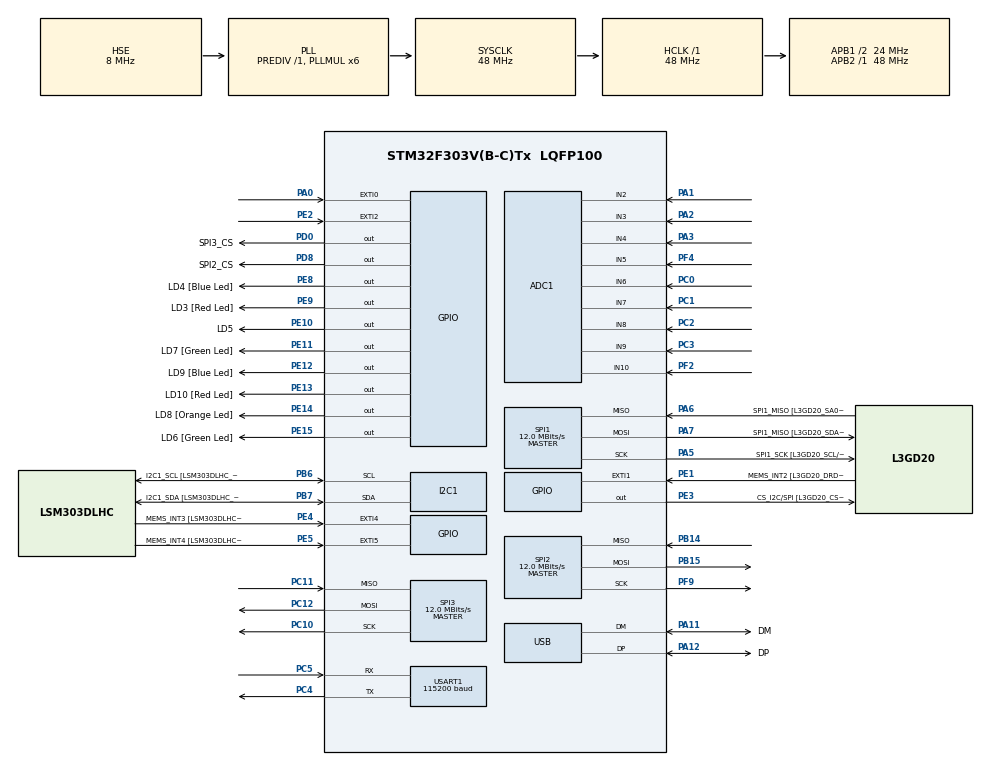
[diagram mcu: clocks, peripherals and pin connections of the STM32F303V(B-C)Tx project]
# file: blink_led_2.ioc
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ADC1.Channel-1\#ChannelRegularConversion=ADC_CHANNEL_2
ADC1.Channel-10\#ChannelRegularConversion=ADC_CHANNEL_10
ADC1.Channel-11\#ChannelRegularConversion=ADC_CHANNEL_TEMPSENSOR
ADC1.Channel-12\#ChannelRegularConversion=ADC_CHANNEL_VREFINT
ADC1.Channel-13\#ChannelRegularConversion=ADC_CHANNEL_VBAT
ADC1.Channel-14\#ChannelRegularConversion=ADC_CHANNEL_2
ADC1.Channel-15\#ChannelRegularConversion=ADC_CHANNEL_2
ADC1.Channel-16\#ChannelRegularConversion=ADC_CHANNEL_2
ADC1.Channel-2\#ChannelRegularConversion=ADC_CHANNEL_2
ADC1.Channel-3\#ChannelRegularConversion=ADC_CHANNEL_3
ADC1.Channel-4\#ChannelRegularConversion=ADC_CHANNEL_4
ADC1.Channel-5\#ChannelRegularConversion=ADC_CHANNEL_5
ADC1.Channel-6\#ChannelRegularConversion=ADC_CHANNEL_6
ADC1.Channel-7\#ChannelRegularConversion=ADC_CHANNEL_7
ADC1.Channel-8\#ChannelRegularConversion=ADC_CHANNEL_8
ADC1.Channel-9\#ChannelRegularConversion=ADC_CHANNEL_9
ADC1.ContinuousConvMode=ENABLE
ADC1.DMAContinuousRequests=ENABLE
ADC1.EOCSelection=ADC_EOC_SINGLE_CONV
ADC1.NbrOfConversion=16
ADC1.NbrOfConversionFlag=1
ADC1.Offset-1\#ChannelRegularConversion=0
ADC1.Offset-10\#ChannelRegularConversion=0
ADC1.Offset-11\#ChannelRegularConversion=0
ADC1.Offset-12\#ChannelRegularConversion=0
ADC1.Offset-13\#ChannelRegularConversion=0
ADC1.Offset-14\#ChannelRegularConversion=0
ADC1.Offset-15\#ChannelRegularConversion=0
ADC1.Offset-16\#ChannelRegularConversion=0
ADC1.Offset-2\#ChannelRegularConversion=0
ADC1.Offset-3\#ChannelRegularConversion=0
ADC1.Offset-4\#ChannelRegularConversion=0
ADC1.Offset-5\#ChannelRegularConversion=0
ADC1.Offset-6\#ChannelRegularConversion=0
ADC1.Offset-7\#ChannelRegularConversion=0
ADC1.Offset-8\#ChannelRegularConversion=0
ADC1.Offset-9\#ChannelRegularConversion=0
ADC1.OffsetNumber-1\#ChannelRegularConversion=ADC_OFFSET_NONE
ADC1.OffsetNumber-10\#ChannelRegularConversion=ADC_OFFSET_NONE
ADC1.OffsetNumber-11\#ChannelRegularConversion=ADC_OFFSET_NONE
ADC1.OffsetNumber-12\#ChannelRegularConversion=ADC_OFFSET_NONE
ADC1.OffsetNumber-13\#ChannelRegularConversion=ADC_OFFSET_NONE
ADC1.OffsetNumber-14\#ChannelRegularConversion=ADC_OFFSET_NONE
ADC1.OffsetNumber-15\#ChannelRegularConversion=ADC_OFFSET_NONE
ADC1.OffsetNumber-16\#ChannelRegularConversion=ADC_OFFSET_NONE
ADC1.OffsetNumber-2\#ChannelRegularConversion=ADC_OFFSET_NONE
ADC1.OffsetNumber-3\#ChannelRegularConversion=ADC_OFFSET_NONE
ADC1.OffsetNumber-4\#ChannelRegularConversion=ADC_OFFSET_NONE
ADC1.OffsetNumber-5\#ChannelRegularConversion=ADC_OFFSET_NONE
ADC1.OffsetNumber-6\#ChannelRegularConversion=ADC_OFFSET_NONE
ADC1.OffsetNumber-7\#ChannelRegularConversion=ADC_OFFSET_NONE
ADC1.OffsetNumber-8\#ChannelRegularConversion=ADC_OFFSET_NONE
ADC1.OffsetNumber-9\#ChannelRegularConversion=ADC_OFFSET_NONE
ADC1.Rank-1\#ChannelRegularConversion=1
ADC1.Rank-10\#ChannelRegularConversion=10
ADC1.Rank-11\#ChannelRegularConversion=11
ADC1.Rank-12\#ChannelRegularConversion=12
ADC1.Rank-13\#ChannelRegularConversion=13
ADC1.Rank-14\#ChannelRegularConversion=14
ADC1.Rank-15\#ChannelRegularConversion=15
ADC1.Rank-16\#ChannelRegularConversion=16
ADC1.Rank-2\#ChannelRegularConversion=2
ADC1.Rank-3\#ChannelRegularConversion=3
ADC1.Rank-4\#ChannelRegularConversion=4
ADC1.Rank-5\#ChannelRegularConversion=5
ADC1.Rank-6\#ChannelRegularConversion=6
ADC1.Rank-7\#ChannelRegularConversion=7
ADC1.Rank-8\#ChannelRegularConversion=8
ADC1.Rank-9\#ChannelRegularConversion=9
ADC1.SamplingTime-1\#ChannelRegularConversion=ADC_SAMPLETIME_601CYCLES_5
ADC1.SamplingTime-10\#ChannelRegularConversion=ADC_SAMPLETIME_601CYCLES_5
ADC1.SamplingTime-11\#ChannelRegularConversion=ADC_SAMPLETIME_601CYCLES_5
ADC1.SamplingTime-12\#ChannelRegularConversion=ADC_SAMPLETIME_601CYCLES_5
ADC1.SamplingTime-13\#ChannelRegularConversion=ADC_SAMPLETIME_601CYCLES_5
ADC1.SamplingTime-14\#ChannelRegularConversion=ADC_SAMPLETIME_1CYCLE_5
ADC1.SamplingTime-15\#ChannelRegularConversion=ADC_SAMPLETIME_1CYCLE_5
ADC1.SamplingTime-16\#ChannelRegularConversion=ADC_SAMPLETIME_1CYCLE_5
ADC1.SamplingTime-2\#ChannelRegularConversion=ADC_SAMPLETIME_601CYCLES_5
ADC1.SamplingTime-3\#ChannelRegularConversion=ADC_SAMPLETIME_601CYCLES_5
ADC1.SamplingTime-4\#ChannelRegularConversion=ADC_SAMPLETIME_601CYCLES_5
ADC1.SamplingTime-5\#ChannelRegularConversion=ADC_SAMPLETIME_601CYCLES_5
ADC1.SamplingTime-6\#ChannelRegularConversion=ADC_SAMPLETIME_601CYCLES_5
ADC1.SamplingTime-7\#ChannelRegularConversion=ADC_SAMPLETIME_601CYCLES_5
ADC1.SamplingTime-8\#ChannelRegularConversion=ADC_SAMPLETIME_601CYCLES_5
ADC1.SamplingTime-9\#ChannelRegularConversion=ADC_SAMPLETIME_601CYCLES_5
ADC1.SamplingTimeOPAMP-10\#ChannelRegularConversion=ADC_SAMPLETIME_19CYCLES_5
ADC1.SamplingTimeOPAMP-11\#ChannelRegularConversion=ADC_SAMPLETIME_19CYCLES_5
ADC1.SamplingTimeOPAMP-12\#ChannelRegularConversion=ADC_SAMPLETIME_19CYCLES_5
ADC1.SamplingTimeOPAMP-13\#ChannelRegularConversion=ADC_SAMPLETIME_19CYCLES_5
ADC1.SamplingTimeOPAMP-14\#ChannelRegularConversion=ADC_SAMPLETIME_19CYCLES_5
ADC1.SamplingTimeOPAMP-15\#ChannelRegularConversion=ADC_SAMPLETIME_19CYCLES_5
ADC1.SamplingTimeOPAMP-16\#ChannelRegularConversion=ADC_SAMPLETIME_19CYCLES_5
ADC1.SamplingTimeOPAMP-2\#ChannelRegularConversion=ADC_SAMPLETIME_19CYCLES_5
ADC1.SamplingTimeOPAMP-3\#ChannelRegularConversion=ADC_SAMPLETIME_19CYCLES_5
ADC1.SamplingTimeOPAMP-4\#ChannelRegularConversion=ADC_SAMPLETIME_19CYCLES_5
ADC1.SamplingTimeOPAMP-5\#ChannelRegularConversion=ADC_SAMPLETIME_19CYCLES_5
ADC1.SamplingTimeOPAMP-6\#ChannelRegularConversion=ADC_SAMPLETIME_19CYCLES_5
ADC1.SamplingTimeOPAMP-7\#ChannelRegularConversion=ADC_SAMPLETIME_19CYCLES_5
ADC1.SamplingTimeOPAMP-8\#ChannelRegularConversion=ADC_SAMPLETIME_19CYCLES_5
ADC1.SamplingTimeOPAMP-9\#ChannelRegularConversion=ADC_SAMPLETIME_19CYCLES_5
ADC1.SequencerNbRanks=16
ADC1.master=1
Dma.ADC1.0.Direction=DMA_PERIPH_TO_MEMORY
Dma.ADC1.0.Instance=DMA1_Channel1
Dma.ADC1.0.MemDataAlignment=DMA_MDATAALIGN_HALFWORD
Dma.ADC1.0.MemInc=DMA_MINC_ENABLE
Dma.ADC1.0.Mode=DMA_CIRCULAR
Dma.ADC1.0.PeriphDataAlignment=DMA_PDATAALIGN_HALFWORD
Dma.ADC1.0.PeriphInc=DMA_PINC_DISABLE
Dma.ADC1.0.Priority=DMA_PRIORITY_LOW
Dma.Request0=ADC1
Dma.Request1=SPI2_RX
Dma.Request2=SPI2_TX
Dma.SPI2_RX.1.Direction=DMA_PERIPH_TO_MEMORY
Dma.SPI2_RX.1.Instance=DMA1_Channel4
Dma.SPI2_RX.1.MemDataAlignment=DMA_MDATAALIGN_BYTE
Dma.SPI2_RX.1.MemInc=DMA_MINC_ENABLE
Dma.SPI2_RX.1.Mode=DMA_NORMAL
Dma.SPI2_RX.1.PeriphDataAlignment=DMA_PDATAALIGN_BYTE
Dma.SPI2_RX.1.PeriphInc=DMA_PINC_DISABLE
Dma.SPI2_RX.1.Priority=DMA_PRIORITY_MEDIUM
Dma.SPI2_TX.2.Direction=DMA_MEMORY_TO_PERIPH
Dma.SPI2_TX.2.Instance=DMA1_Channel5
Dma.SPI2_TX.2.MemDataAlignment=DMA_MDATAALIGN_BYTE
Dma.SPI2_TX.2.MemInc=DMA_MINC_ENABLE
Dma.SPI2_TX.2.Mode=DMA_NORMAL
Dma.SPI2_TX.2.PeriphDataAlignment=DMA_PDATAALIGN_BYTE
Dma.SPI2_TX.2.PeriphInc=DMA_PINC_DISABLE
Dma.SPI2_TX.2.Priority=DMA_PRIORITY_MEDIUM
FATFS._FS_REENTRANT=0
FATFS._FS_RPATH=2
FATFS._USE_FIND=1
FATFS._USE_FORWARD=1
FATFS._USE_LABEL=1
FATFS._USE_LFN=2
FREERTOS.Queues01=STShell_RX,16,uint8_t,0,Dynamic,NULL,NULL;STShell_TX,16,uint8_t,0,Dynamic,NULL,NULL
FREERTOS.Tasks01=defaultTask,24,128,StartDefaultTask,Default,NULL,Dynamic,NULL,NULL;STShell,11,1024,StartSTShell,Default,NULL,Dynamic,NULL,NULL;PWM,9,128,startPWM,Default,NULL,Dynamic,NULL,NULL;UDPListen,10,128,StartUDPListen,Default,NULL,Dynamic,NULL,NULL
FREERTOS.configGENERATE_RUN_TIME_STATS=1
FREERTOS.configTOTAL_HEAP_SIZE=16384
FREERTOS.configUSE_NEWLIB_REENTRANT=1
I2C1.Timing=0x00201D2B
I2C1.Timing-I2C=0x2000090E
Mcu.Family=STM32F3
Mcu.Name=STM32F303V(B-C)Tx
Mcu.Package=LQFP100
NVIC.DMA1_Channel1_IRQn=true\:5\:0\:false\:false\:true\:true\:false\:true\:true
NVIC.DMA1_Channel4_IRQn=true\:5\:0\:false\:false\:true\:true\:false\:true\:true
NVIC.DMA1_Channel5_IRQn=true\:5\:0\:false\:false\:true\:true\:false\:true\:true
NVIC.EXTI0_IRQn=true\:7\:0\:true\:false\:true\:true\:true\:true\:true
NVIC.I2C1_ER_IRQn=true\:8\:0\:true\:false\:true\:true\:true\:true\:true
NVIC.I2C1_EV_IRQn=true\:8\:0\:true\:false\:true\:true\:true\:true\:true
NVIC.PriorityGroup=NVIC_PRIORITYGROUP_4
NVIC.SPI1_IRQn=true\:9\:0\:true\:false\:true\:true\:true\:true\:true
NVIC.SPI2_IRQn=true\:5\:0\:false\:false\:true\:true\:true\:true\:true
NVIC.TIM3_IRQn=true\:14\:0\:true\:false\:true\:true\:true\:true\:true
NVIC.TIM4_IRQn=true\:14\:0\:true\:false\:true\:true\:true\:true\:true
NVIC.TIM6_DAC_IRQn=true\:5\:0\:false\:false\:true\:true\:false\:true\:true
NVIC.TIM7_IRQn=true\:7\:0\:true\:false\:true\:true\:true\:true\:true
NVIC.TimeBase=TIM6_DAC_IRQn
NVIC.TimeBaseIP=TIM6
NVIC.USART1_IRQn=true\:12\:0\:true\:false\:true\:true\:true\:true\:true
NVIC.USB_HP_CAN_TX_IRQn=true\:6\:0\:true\:false\:true\:true\:true\:true\:true
NVIC.USB_LP_CAN_RX0_IRQn=true\:6\:0\:true\:false\:true\:true\:true\:true\:true
PA0.Signal=GPXTI0
PA1.Mode=IN2-Single-Ended
PA1.Signal=ADC1_IN2
PA11.GPIO_Label=DM
PA11.Mode=Device
PA11.Signal=USB_DM
PA12.GPIO_Label=DP
PA12.Mode=Device
PA12.Signal=USB_DP
PA13.GPIO_Label=SWDIO
PA13.Mode=Serial_Wire
PA13.Signal=SYS_JTMS-SWDIO
PA14.GPIO_Label=SWCLK
PA14.Mode=Serial_Wire
PA14.Signal=SYS_JTCK-SWCLK
PA2.Mode=IN3-Single-Ended
PA2.Signal=ADC1_IN3
PA3.Mode=IN4-Single-Ended
PA3.Signal=ADC1_IN4
PA5.GPIO_Label=SPI1_SCK [L3GD20_SCL/SPC]
PA5.Mode=Full_Duplex_Master
PA5.Signal=SPI1_SCK
PA6.GPIO_Label=SPI1_MISO [L3GD20_SA0/SDO]
PA6.Mode=Full_Duplex_Master
PA6.Signal=SPI1_MISO
PA7.GPIO_Label=SPI1_MISO [L3GD20_SDA/SDI/SDO]
PA7.Mode=Full_Duplex_Master
PA7.Signal=SPI1_MOSI
PB14.Mode=Full_Duplex_Master
PB14.Signal=SPI2_MISO
PB15.Mode=Full_Duplex_Master
PB15.Signal=SPI2_MOSI
PB3.GPIO_Label=SWO
PB3.Signal=SYS_JTDO-TRACESWO
PB6.GPIO_Label=I2C1_SCL [LSM303DLHC_SCL]
PB6.GPIO_Pu=GPIO_PULLUP
PB6.Mode=I2C
PB6.Signal=I2C1_SCL
PB7.GPIO_Label=I2C1_SDA [LSM303DLHC_SDA]
PB7.GPIO_Pu=GPIO_PULLUP
PB7.Mode=I2C
PB7.Signal=I2C1_SDA
PC0.Signal=ADCx_IN6
PC1.Signal=ADCx_IN7
PC10.Mode=Full_Duplex_Master
PC10.Signal=SPI3_SCK
PC11.Mode=Full_Duplex_Master
PC11.Signal=SPI3_MISO
PC12.Mode=Full_Duplex_Master
PC12.Signal=SPI3_MOSI
PC14-OSC32_IN.GPIO_Label=OSC32_IN
PC14-OSC32_IN.Mode=LSE-External-Oscillator
PC14-OSC32_IN.Signal=RCC_OSC32_IN
PC15-OSC32_OUT.GPIO_Label=OSC32_OUT
PC15-OSC32_OUT.Mode=LSE-External-Oscillator
PC15-OSC32_OUT.Signal=RCC_OSC32_OUT
PC2.Signal=ADCx_IN8
PC3.Signal=ADCx_IN9
PC4.Mode=Asynchronous
PC4.Signal=USART1_TX
PC5.Mode=Asynchronous
PC5.Signal=USART1_RX
PD0.GPIO_Label=SPI3_CS
PD0.Signal=GPIO_Output
PD8.GPIO_Label=SPI2_CS
PD8.Signal=GPIO_Output
PE1.GPIO_Label=MEMS_INT2 [L3GD20_DRDY/INT2]
PE1.GPIO_ModeDefaultEXTI=GPIO_MODE_EVT_RISING
PE1.Signal=GPXTI1
PE10.GPIO_Label=LD5
PE10.Signal=GPIO_Output
PE11.GPIO_Label=LD7 [Green Led]
PE11.Signal=GPIO_Output
PE12.GPIO_Label=LD9 [Blue Led]
PE12.Signal=GPIO_Output
PE13.GPIO_Label=LD10 [Red Led]
PE13.Signal=GPIO_Output
PE14.GPIO_Label=LD8 [Orange Led]
PE14.Signal=GPIO_Output
PE15.GPIO_Label=LD6 [Green Led]
PE15.Signal=GPIO_Output
PE2.Signal=GPXTI2
PE3.GPIO_Label=CS_I2C/SPI [L3GD20_CS_I2C/SPI]
PE3.Signal=GPIO_Output
PE4.GPIO_Label=MEMS_INT3 [LSM303DLHC_INT1]
PE4.GPIO_ModeDefaultEXTI=GPIO_MODE_EVT_RISING
PE4.Signal=GPXTI4
PE5.GPIO_Label=MEMS_INT4 [LSM303DLHC_INT2]
PE5.GPIO_ModeDefaultEXTI=GPIO_MODE_EVT_RISING
PE5.Signal=GPXTI5
PE8.GPIO_Label=LD4 [Blue Led]
PE8.Signal=GPIO_Output
PE9.GPIO_Label=LD3 [Red Led]
PE9.Signal=GPIO_Output
PF0-OSC_IN.GPIO_Label=OSC_IN
PF0-OSC_IN.Mode=HSE-External-Clock-Source
PF0-OSC_IN.Signal=RCC_OSC_IN
PF1-OSC_OUT.GPIO_Label=OSC_OUT
PF1-OSC_OUT.Signal=RCC_OSC_OUT
PF2.Signal=ADCx_IN10
PF4.Mode=IN5-Single-Ended
PF4.Signal=ADC1_IN5
PF9.Mode=Full_Duplex_Master
PF9.Signal=SPI2_SCK
ProjectManager.HeapSize=0x200
ProjectManager.StackSize=0x1000
ProjectManager.TargetToolchain=STM32CubeIDE
RCC.AHBFreq_Value=48000000
RCC.APB1CLKDivider=RCC_HCLK_DIV2
RCC.APB1Freq_Value=24000000
RCC.APB1TimFreq_Value=48000000
RCC.APB2Freq_Value=48000000
RCC.APB2TimFreq_Value=48000000
RCC.CortexFreq_Value=48000000
RCC.HCLKFreq_Value=48000000
RCC.HSE_VALUE=8000000
RCC.HSI_VALUE=8000000
RCC.PLLMUL=RCC_PLL_MUL6
RCC.RTCClockSelection=RCC_RTCCLKSOURCE_LSE
RCC.SYSCLKFreq_VALUE=48000000
RCC.SYSCLKSourceVirtual=RCC_SYSCLKSOURCE_PLLCLK
RCC.USBFreq_Value=48000000
RTC.Format=RTC_FORMAT_BIN
RTC.StoreOperation=RTC_STOREOPERATION_RESET
SH.ADCx_IN10.0=ADC1_IN10,IN10-Single-Ended
SH.ADCx_IN6.0=ADC1_IN6,IN6-Single-Ended
SH.ADCx_IN7.0=ADC1_IN7,IN7-Single-Ended
SH.ADCx_IN8.0=ADC1_IN8,IN8-Single-Ended
SH.ADCx_IN9.0=ADC1_IN9,IN9-Single-Ended
SPI1.BaudRatePrescaler=SPI_BAUDRATEPRESCALER_4
SPI1.BaudRatePrescaler-Full_Duplex_Master=SPI_BAUDRATEPRESCALER_2
SPI1.CalculateBaudRate=12.0 MBits/s
SPI1.CalculateBaudRate-Full_Duplex_Master=24.0 MBits/s
SPI1.DataSize=SPI_DATASIZE_8BIT
SPI1.Direction=SPI_DIRECTION_2LINES
SPI1.Mode=SPI_MODE_MASTER
SPI1.Mode-Full_Duplex_Master=SPI_MODE_MASTER
SPI1.NSSPMode=SPI_NSS_PULSE_ENABLE
SPI1.VirtualType=VM_MASTER
SPI2.BaudRatePrescaler=SPI_BAUDRATEPRESCALER_2
SPI2.CalculateBaudRate=12.0 MBits/s
SPI2.DataSize=SPI_DATASIZE_8BIT
SPI2.Direction=SPI_DIRECTION_2LINES
SPI2.Mode=SPI_MODE_MASTER
SPI2.VirtualType=VM_MASTER
SPI3.CalculateBaudRate=12.0 MBits/s
SPI3.DataSize=SPI_DATASIZE_8BIT
SPI3.Direction=SPI_DIRECTION_2LINES
SPI3.Mode=SPI_MODE_MASTER
SPI3.VirtualType=VM_MASTER
TIM3.Channel-PWM\ Generation1\ No\ Output=TIM_CHANNEL_1
TIM3.Channel-PWM\ Generation2\ No\ Output=TIM_CHANNEL_2
TIM3.Channel-PWM\ Generation3\ No\ Output=TIM_CHANNEL_3
TIM3.Channel-PWM\ Generation4\ No\ Output=TIM_CHANNEL_4
TIM3.Period=48000
TIM3.TIM_MasterOutputTrigger=TIM_TRGO_RESET
TIM3.TIM_MasterSlaveMode=TIM_MASTERSLAVEMODE_DISABLE
TIM4.Channel-PWM\ Generation1\ No\ Output=TIM_CHANNEL_1
TIM4.Channel-PWM\ Generation2\ No\ Output=TIM_CHANNEL_2
TIM4.Channel-PWM\ Generation3\ No\ Output=TIM_CHANNEL_3
TIM4.Channel-PWM\ Generation4\ No\ Output=TIM_CHANNEL_4
TIM4.Period=48000
TIM7.AutoReloadPreload=TIM_AUTORELOAD_PRELOAD_ENABLE
TIM7.Period=999
TIM7.Prescaler=4799
USART1.BaudRate=115200
USART1.VirtualMode-Asynchronous=VM_ASYNC
USB.low_power_enable=DISABLE
USB.lpm_enable=DISABLE
USB_DEVICE.CLASS_NAME_FS=MSC
USB_DEVICE.PID_MSC_FS=0x572a
USB_DEVICE.USBD_DEBUG_LEVEL=3
USB_DEVICE.USBD_MAX_NUM_CONFIGURATION=1
USB_DEVICE.USBD_MAX_NUM_INTERFACES=1
USB_DEVICE.VID=0x483
USB_DEVICE.VirtualMode=Msc
USB_DEVICE.VirtualModeFS=Msc_FS
VP_ADC1_TempSens_Input.Mode=IN-TempSens
VP_ADC1_Vbat_Input.Mode=IN-Vbat
VP_ADC1_Vref_Input.Mode=IN-Vrefint
VP_FATFS_VS_Generic.Mode=User_defined
VP_FREERTOS_VS_CMSIS_V2.Mode=CMSIS_V2
VP_RTC_VS_RTC_Activate.Mode=RTC_Enabled
VP_RTC_VS_RTC_Calendar.Mode=RTC_Calendar
VP_SYS_VS_tim6.Mode=TIM6
VP_TIM3_VS_ClockSourceINT.Mode=Internal
VP_TIM3_VS_no_output1.Mode=PWM Generation1 No Output
VP_TIM3_VS_no_output2.Mode=PWM Generation2 No Output
VP_TIM3_VS_no_output3.Mode=PWM Generation3 No Output
VP_TIM3_VS_no_output4.Mode=PWM Generation4 No Output
VP_TIM4_VS_ClockSourceINT.Mode=Internal
VP_TIM4_VS_no_output1.Mode=PWM Generation1 No Output
VP_TIM4_VS_no_output2.Mode=PWM Generation2 No Output
VP_TIM4_VS_no_output3.Mode=PWM Generation3 No Output
VP_TIM4_VS_no_output4.Mode=PWM Generation4 No Output
VP_TIM7_VS_ClockSourceINT.Mode=Enable_Timer
VP_USB_DEVICE_VS_USB_DEVICE_MSC_FS.Mode=MSC_FS
board=STM32F3DISCOVERY

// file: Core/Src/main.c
/* USER CODE BEGIN Header */
/**
  ******************************************************************************
  * @file           : main.c
  * @brief          : Main program body
  ******************************************************************************
  * @attention
  *
  * Copyright (c) 2026 STMicroelectronics.
  * All rights reserved.
  *
  * This software is licensed under terms that can be found in the LICENSE file
  * in the root directory of this software component.
  * If no LICENSE file comes with this software, it is provided AS-IS.
  *
  ******************************************************************************
  */
/* USER CODE END Header */
#include "main.h"
#include "cmsis_os.h"
#include "fatfs.h"
#include "usb_device.h"

/* USER CODE BEGIN Includes */

#include "shell.h"
#include "nvstore.h"
#include "LSM303AGR.h"
#include "flash_counter.h"
#include "queue.h"
#include "I3G4250D.h"
#include "pwm.h"
#include "net.h"
#include "AT45.h"

/* USER CODE END Includes */

ADC_HandleTypeDef hadc1;
DMA_HandleTypeDef hdma_adc1;

I2C_HandleTypeDef hi2c1;

RTC_HandleTypeDef hrtc;

SPI_HandleTypeDef hspi1;
SPI_HandleTypeDef hspi2;
SPI_HandleTypeDef hspi3;
DMA_HandleTypeDef hdma_spi2_rx;
DMA_HandleTypeDef hdma_spi2_tx;

TIM_HandleTypeDef htim3;
TIM_HandleTypeDef htim4;
TIM_HandleTypeDef htim7;

UART_HandleTypeDef huart1;

/* Definitions for defaultTask */
osThreadId_t defaultTaskHandle;
const osThreadAttr_t defaultTask_attributes = {
  .name = "defaultTask",
  .stack_size = 128 * 4,
  .priority = (osPriority_t) osPriorityNormal,
};
/* Definitions for STShell */
osThreadId_t STShellHandle;
const osThreadAttr_t STShell_attributes = {
  .name = "STShell",
  .stack_size = 1024 * 4,
  .priority = (osPriority_t) osPriorityLow3,
};
/* Definitions for PWM */
osThreadId_t PWMHandle;
const osThreadAttr_t PWM_attributes = {
  .name = "PWM",
  .stack_size = 128 * 4,
  .priority = (osPriority_t) osPriorityLow1,
};
/* Definitions for UDPListen */
osThreadId_t UDPListenHandle;
const osThreadAttr_t UDPListen_attributes = {
  .name = "UDPListen",
  .stack_size = 128 * 4,
  .priority = (osPriority_t) osPriorityLow2,
};
/* Definitions for STShell_RX */
osMessageQueueId_t STShell_RXHandle;
const osMessageQueueAttr_t STShell_RX_attributes = {
  .name = "STShell_RX"
};
/* Definitions for STShell_TX */
osMessageQueueId_t STShell_TXHandle;
const osMessageQueueAttr_t STShell_TX_attributes = {
  .name = "STShell_TX"
};
/* USER CODE BEGIN PV */

void UART1_TX(uint8_t c)
{
	HAL_UART_Transmit(&huart1, &c, 1, HAL_MAX_DELAY);
}

/* USER CODE END PV */

void SystemClock_Config(void);
static void MX_GPIO_Init(void);
static void MX_DMA_Init(void);
static void MX_I2C1_Init(void);
static void MX_SPI1_Init(void);
static void MX_ADC1_Init(void);
static void MX_USART1_UART_Init(void);
static void MX_TIM7_Init(void);
static void MX_RTC_Init(void);
static void MX_TIM3_Init(void);
static void MX_TIM4_Init(void);
static void MX_SPI2_Init(void);
static void MX_SPI3_Init(void);
void StartDefaultTask(void *argument);
void StartSTShell(void *argument);
void startPWM(void *argument);
void StartUDPListen(void *argument);

/* USER CODE BEGIN 0 */

uint16_t adc1buf[16] = {0};

/* USER CODE END 0 */

int main(void)
{

  /* MCU Configuration--------------------------------------------------------*/

  /* Reset of all peripherals, Initializes the Flash interface and the Systick. */
  HAL_Init();

  /* Configure the system clock */
  SystemClock_Config();

  /* Initialize all configured peripherals */
  MX_GPIO_Init();
  MX_DMA_Init();
  MX_I2C1_Init();
  MX_SPI1_Init();
  MX_ADC1_Init();
  MX_USART1_UART_Init();
  MX_TIM7_Init();
  MX_RTC_Init();
  MX_TIM3_Init();
  MX_TIM4_Init();
  MX_SPI2_Init();
  MX_FATFS_Init();
  MX_SPI3_Init();
  /* USER CODE BEGIN 2 */

  stack_paint();
  init_LSM303AGR();
  init_I3G4250D();

  HAL_ADC_Start_DMA(&hadc1, (uint32_t*) adc1buf, 16);
  HAL_TIM_Base_Start_IT(&htim7);
  count_firmware_downloads();

	uint32_t* bootp = (uint32_t*) nvfind(NV_BOOTCOUNT);
	uint32_t boot = 0;
	if (bootp)
		boot = *bootp;
	boot++;
	nvstore(NV_BOOTCOUNT, 4, &boot);
	net_init();

  /* USER CODE END 2 */

  /* Init scheduler */
  osKernelInitialize();

  /* Create the queue(s) */
  /* creation of STShell_RX */
  STShell_RXHandle = osMessageQueueNew (16, sizeof(uint8_t), &STShell_RX_attributes);

  /* creation of STShell_TX */
  STShell_TXHandle = osMessageQueueNew (16, sizeof(uint8_t), &STShell_TX_attributes);

  /* Create the thread(s) */
  /* creation of defaultTask */
  defaultTaskHandle = osThreadNew(StartDefaultTask, NULL, &defaultTask_attributes);

  /* creation of STShell */
  STShellHandle = osThreadNew(StartSTShell, NULL, &STShell_attributes);

  /* creation of PWM */
  PWMHandle = osThreadNew(startPWM, NULL, &PWM_attributes);

  /* creation of UDPListen */
  UDPListenHandle = osThreadNew(StartUDPListen, NULL, &UDPListen_attributes);

  /* Start scheduler */
  osKernelStart();

  /* We should never get here as control is now taken by the scheduler */

  /* Infinite loop */
  /* USER CODE BEGIN WHILE */

  while (1)
  {
	  // Shell code for polling mode
	  /*HAL_StatusTypeDef rv;
	  uint8_t pData;
	  rv = HAL_UART_Receive(&huart1, &pData, 1, 0);
	  if (HAL_OK == rv)
		  shell_rx(pData);
	  	 */
    /* USER CODE END WHILE */

  }
}

void SystemClock_Config(void)
{
  RCC_OscInitTypeDef RCC_OscInitStruct = {0};
  RCC_ClkInitTypeDef RCC_ClkInitStruct = {0};
  RCC_PeriphCLKInitTypeDef PeriphClkInit = {0};

  /** Configure LSE Drive Capability
  */
  HAL_PWR_EnableBkUpAccess();
  __HAL_RCC_LSEDRIVE_CONFIG(RCC_LSEDRIVE_LOW);

  /** Initializes the RCC Oscillators according to the specified parameters
  * in the RCC_OscInitTypeDef structure.
  */
  RCC_OscInitStruct.OscillatorType = RCC_OSCILLATORTYPE_HSI|RCC_OSCILLATORTYPE_HSE
                              |RCC_OSCILLATORTYPE_LSE;
  RCC_OscInitStruct.HSEState = RCC_HSE_BYPASS;
  RCC_OscInitStruct.HSEPredivValue = RCC_HSE_PREDIV_DIV1;
  RCC_OscInitStruct.LSEState = RCC_LSE_ON;
  RCC_OscInitStruct.HSIState = RCC_HSI_ON;
  RCC_OscInitStruct.HSICalibrationValue = RCC_HSICALIBRATION_DEFAULT;
  RCC_OscInitStruct.PLL.PLLState = RCC_PLL_ON;
  RCC_OscInitStruct.PLL.PLLSource = RCC_PLLSOURCE_HSE;
  RCC_OscInitStruct.PLL.PLLMUL = RCC_PLL_MUL6;
  if (HAL_RCC_OscConfig(&RCC_OscInitStruct) != HAL_OK)
  {
    Error_Handler();
  }

  /** Initializes the CPU, AHB and APB buses clocks
  */
  RCC_ClkInitStruct.ClockType = RCC_CLOCKTYPE_HCLK|RCC_CLOCKTYPE_SYSCLK
                              |RCC_CLOCKTYPE_PCLK1|RCC_CLOCKTYPE_PCLK2;
  RCC_ClkInitStruct.SYSCLKSource = RCC_SYSCLKSOURCE_PLLCLK;
  RCC_ClkInitStruct.AHBCLKDivider = RCC_SYSCLK_DIV1;
  RCC_ClkInitStruct.APB1CLKDivider = RCC_HCLK_DIV2;
  RCC_ClkInitStruct.APB2CLKDivider = RCC_HCLK_DIV1;

  if (HAL_RCC_ClockConfig(&RCC_ClkInitStruct, FLASH_LATENCY_1) != HAL_OK)
  {
    Error_Handler();
  }
  PeriphClkInit.PeriphClockSelection = RCC_PERIPHCLK_USB|RCC_PERIPHCLK_USART1
                              |RCC_PERIPHCLK_I2C1|RCC_PERIPHCLK_RTC
                              |RCC_PERIPHCLK_ADC12;
  PeriphClkInit.Usart1ClockSelection = RCC_USART1CLKSOURCE_PCLK2;
  PeriphClkInit.Adc12ClockSelection = RCC_ADC12PLLCLK_DIV1;
  PeriphClkInit.I2c1ClockSelection = RCC_I2C1CLKSOURCE_HSI;
  PeriphClkInit.RTCClockSelection = RCC_RTCCLKSOURCE_LSE;
  PeriphClkInit.USBClockSelection = RCC_USBCLKSOURCE_PLL;
  if (HAL_RCCEx_PeriphCLKConfig(&PeriphClkInit) != HAL_OK)
  {
    Error_Handler();
  }
}

static void MX_ADC1_Init(void)
{

  ADC_MultiModeTypeDef multimode = {0};
  ADC_ChannelConfTypeDef sConfig = {0};

  /** Common config
  */
  hadc1.Instance = ADC1;
  hadc1.Init.ClockPrescaler = ADC_CLOCK_ASYNC_DIV1;
  hadc1.Init.Resolution = ADC_RESOLUTION_12B;
  hadc1.Init.ScanConvMode = ADC_SCAN_ENABLE;
  hadc1.Init.ContinuousConvMode = ENABLE;
  hadc1.Init.DiscontinuousConvMode = DISABLE;
  hadc1.Init.ExternalTrigConvEdge = ADC_EXTERNALTRIGCONVEDGE_NONE;
  hadc1.Init.ExternalTrigConv = ADC_SOFTWARE_START;
  hadc1.Init.DataAlign = ADC_DATAALIGN_RIGHT;
  hadc1.Init.NbrOfConversion = 16;
  hadc1.Init.DMAContinuousRequests = ENABLE;
  hadc1.Init.EOCSelection = ADC_EOC_SINGLE_CONV;
  hadc1.Init.LowPowerAutoWait = DISABLE;
  hadc1.Init.Overrun = ADC_OVR_DATA_OVERWRITTEN;
  if (HAL_ADC_Init(&hadc1) != HAL_OK)
  {
    Error_Handler();
  }

  /** Configure the ADC multi-mode
  */
  multimode.Mode = ADC_MODE_INDEPENDENT;
  if (HAL_ADCEx_MultiModeConfigChannel(&hadc1, &multimode) != HAL_OK)
  {
    Error_Handler();
  }

  /** Configure Regular Channel
  */
  sConfig.Channel = ADC_CHANNEL_2;
  sConfig.Rank = ADC_REGULAR_RANK_1;
  sConfig.SingleDiff = ADC_SINGLE_ENDED;
  sConfig.SamplingTime = ADC_SAMPLETIME_601CYCLES_5;
  sConfig.OffsetNumber = ADC_OFFSET_NONE;
  sConfig.Offset = 0;
  if (HAL_ADC_ConfigChannel(&hadc1, &sConfig) != HAL_OK)
  {
    Error_Handler();
  }

  /** Configure Regular Channel
  */
  sConfig.Rank = ADC_REGULAR_RANK_2;
  if (HAL_ADC_ConfigChannel(&hadc1, &sConfig) != HAL_OK)
  {
    Error_Handler();
  }

  /** Configure Regular Channel
  */
  sConfig.Channel = ADC_CHANNEL_3;
  sConfig.Rank = ADC_REGULAR_RANK_3;
  if (HAL_ADC_ConfigChannel(&hadc1, &sConfig) != HAL_OK)
  {
    Error_Handler();
  }

  /** Configure Regular Channel
  */
  sConfig.Channel = ADC_CHANNEL_4;
  sConfig.Rank = ADC_REGULAR_RANK_4;
  if (HAL_ADC_ConfigChannel(&hadc1, &sConfig) != HAL_OK)
  {
    Error_Handler();
  }

  /** Configure Regular Channel
  */
  sConfig.Channel = ADC_CHANNEL_5;
  sConfig.Rank = ADC_REGULAR_RANK_5;
  if (HAL_ADC_ConfigChannel(&hadc1, &sConfig) != HAL_OK)
  {
    Error_Handler();
  }

  /** Configure Regular Channel
  */
  sConfig.Channel = ADC_CHANNEL_6;
  sConfig.Rank = ADC_REGULAR_RANK_6;
  if (HAL_ADC_ConfigChannel(&hadc1, &sConfig) != HAL_OK)
  {
    Error_Handler();
  }

  /** Configure Regular Channel
  */
  sConfig.Channel = ADC_CHANNEL_7;
  sConfig.Rank = ADC_REGULAR_RANK_7;
  if (HAL_ADC_ConfigChannel(&hadc1, &sConfig) != HAL_OK)
  {
    Error_Handler();
  }

  /** Configure Regular Channel
  */
  sConfig.Channel = ADC_CHANNEL_8;
  sConfig.Rank = ADC_REGULAR_RANK_8;
  if (HAL_ADC_ConfigChannel(&hadc1, &sConfig) != HAL_OK)
  {
    Error_Handler();
  }

  /** Configure Regular Channel
  */
  sConfig.Channel = ADC_CHANNEL_9;
  sConfig.Rank = ADC_REGULAR_RANK_9;
  if (HAL_ADC_ConfigChannel(&hadc1, &sConfig) != HAL_OK)
  {
    Error_Handler();
  }

  /** Configure Regular Channel
  */
  sConfig.Channel = ADC_CHANNEL_10;
  sConfig.Rank = ADC_REGULAR_RANK_10;
  if (HAL_ADC_ConfigChannel(&hadc1, &sConfig) != HAL_OK)
  {
    Error_Handler();
  }

  /** Configure Regular Channel
  */
  sConfig.Channel = ADC_CHANNEL_TEMPSENSOR;
  sConfig.Rank = ADC_REGULAR_RANK_11;
  if (HAL_ADC_ConfigChannel(&hadc1, &sConfig) != HAL_OK)
  {
    Error_Handler();
  }

  /** Configure Regular Channel
  */
  sConfig.Channel = ADC_CHANNEL_VREFINT;
  sConfig.Rank = ADC_REGULAR_RANK_12;
  if (HAL_ADC_ConfigChannel(&hadc1, &sConfig) != HAL_OK)
  {
    Error_Handler();
  }

  /** Configure Regular Channel
  */
  sConfig.Channel = ADC_CHANNEL_VBAT;
  sConfig.Rank = ADC_REGULAR_RANK_13;
  if (HAL_ADC_ConfigChannel(&hadc1, &sConfig) != HAL_OK)
  {
    Error_Handler();
  }

  /** Configure Regular Channel
  */
  sConfig.Channel = ADC_CHANNEL_2;
  sConfig.Rank = ADC_REGULAR_RANK_14;
  sConfig.SamplingTime = ADC_SAMPLETIME_1CYCLE_5;
  if (HAL_ADC_ConfigChannel(&hadc1, &sConfig) != HAL_OK)
  {
    Error_Handler();
  }

  /** Configure Regular Channel
  */
  sConfig.Rank = ADC_REGULAR_RANK_15;
  if (HAL_ADC_ConfigChannel(&hadc1, &sConfig) != HAL_OK)
  {
    Error_Handler();
  }

  /** Configure Regular Channel
  */
  sConfig.Rank = ADC_REGULAR_RANK_16;
  if (HAL_ADC_ConfigChannel(&hadc1, &sConfig) != HAL_OK)
  {
    Error_Handler();
  }
  /* USER CODE BEGIN ADC1_Init 2 */

  ADC12_COMMON->CCR |= ADC_CCR_VREFEN | ADC_CCR_TSEN | ADC_CCR_VBATEN;

  /* USER CODE END ADC1_Init 2 */

}

static void MX_I2C1_Init(void)
{

  hi2c1.Instance = I2C1;
  hi2c1.Init.Timing = 0x00201D2B;
  hi2c1.Init.OwnAddress1 = 0;
  hi2c1.Init.AddressingMode = I2C_ADDRESSINGMODE_7BIT;
  hi2c1.Init.DualAddressMode = I2C_DUALADDRESS_DISABLE;
  hi2c1.Init.OwnAddress2 = 0;
  hi2c1.Init.OwnAddress2Masks = I2C_OA2_NOMASK;
  hi2c1.Init.GeneralCallMode = I2C_GENERALCALL_DISABLE;
  hi2c1.Init.NoStretchMode = I2C_NOSTRETCH_DISABLE;
  if (HAL_I2C_Init(&hi2c1) != HAL_OK)
  {
    Error_Handler();
  }

  /** Configure Analogue filter
  */
  if (HAL_I2CEx_ConfigAnalogFilter(&hi2c1, I2C_ANALOGFILTER_ENABLE) != HAL_OK)
  {
    Error_Handler();
  }

  /** Configure Digital filter
  */
  if (HAL_I2CEx_ConfigDigitalFilter(&hi2c1, 0) != HAL_OK)
  {
    Error_Handler();
  }

}

static void MX_RTC_Init(void)
{

  RTC_TimeTypeDef sTime = {0};
  RTC_DateTypeDef sDate = {0};

  /** Initialize RTC Only
  */
  hrtc.Instance = RTC;
  hrtc.Init.HourFormat = RTC_HOURFORMAT_24;
  hrtc.Init.AsynchPrediv = 127;
  hrtc.Init.SynchPrediv = 255;
  hrtc.Init.OutPut = RTC_OUTPUT_DISABLE;
  hrtc.Init.OutPutPolarity = RTC_OUTPUT_POLARITY_HIGH;
  hrtc.Init.OutPutType = RTC_OUTPUT_TYPE_OPENDRAIN;
  if (HAL_RTC_Init(&hrtc) != HAL_OK)
  {
    Error_Handler();
  }

  /* USER CODE BEGIN Check_RTC_BKUP */

  return;	// I dont wish the initializer for date/time.

  /* USER CODE END Check_RTC_BKUP */

  /** Initialize RTC and set the Time and Date
  */
  sTime.Hours = 0;
  sTime.Minutes = 0;
  sTime.Seconds = 0;
  sTime.DayLightSaving = RTC_DAYLIGHTSAVING_NONE;
  sTime.StoreOperation = RTC_STOREOPERATION_RESET;
  if (HAL_RTC_SetTime(&hrtc, &sTime, RTC_FORMAT_BIN) != HAL_OK)
  {
    Error_Handler();
  }
  sDate.WeekDay = RTC_WEEKDAY_MONDAY;
  sDate.Month = RTC_MONTH_JANUARY;
  sDate.Date = 1;
  sDate.Year = 0;

  if (HAL_RTC_SetDate(&hrtc, &sDate, RTC_FORMAT_BIN) != HAL_OK)
  {
    Error_Handler();
  }

}

static void MX_SPI1_Init(void)
{

  /* USER CODE BEGIN SPI1_Init 0 */
	HAL_GPIO_WritePin(GPIOE, GPIO_PIN_3, GPIO_PIN_SET);
  /* USER CODE END SPI1_Init 0 */

  /* SPI1 parameter configuration*/
  hspi1.Instance = SPI1;
  hspi1.Init.Mode = SPI_MODE_MASTER;
  hspi1.Init.Direction = SPI_DIRECTION_2LINES;
  hspi1.Init.DataSize = SPI_DATASIZE_8BIT;
  hspi1.Init.CLKPolarity = SPI_POLARITY_LOW;
  hspi1.Init.CLKPhase = SPI_PHASE_1EDGE;
  hspi1.Init.NSS = SPI_NSS_SOFT;
  hspi1.Init.BaudRatePrescaler = SPI_BAUDRATEPRESCALER_4;
  hspi1.Init.FirstBit = SPI_FIRSTBIT_MSB;
  hspi1.Init.TIMode = SPI_TIMODE_DISABLE;
  hspi1.Init.CRCCalculation = SPI_CRCCALCULATION_DISABLE;
  hspi1.Init.CRCPolynomial = 7;
  hspi1.Init.CRCLength = SPI_CRC_LENGTH_DATASIZE;
  hspi1.Init.NSSPMode = SPI_NSS_PULSE_ENABLE;
  if (HAL_SPI_Init(&hspi1) != HAL_OK)
  {
    Error_Handler();
  }

}

static void MX_SPI2_Init(void)
{

  /* SPI2 parameter configuration*/
  hspi2.Instance = SPI2;
  hspi2.Init.Mode = SPI_MODE_MASTER;
  hspi2.Init.Direction = SPI_DIRECTION_2LINES;
  hspi2.Init.DataSize = SPI_DATASIZE_8BIT;
  hspi2.Init.CLKPolarity = SPI_POLARITY_LOW;
  hspi2.Init.CLKPhase = SPI_PHASE_1EDGE;
  hspi2.Init.NSS = SPI_NSS_SOFT;
  hspi2.Init.BaudRatePrescaler = SPI_BAUDRATEPRESCALER_2;
  hspi2.Init.FirstBit = SPI_FIRSTBIT_MSB;
  hspi2.Init.TIMode = SPI_TIMODE_DISABLE;
  hspi2.Init.CRCCalculation = SPI_CRCCALCULATION_DISABLE;
  hspi2.Init.CRCPolynomial = 7;
  hspi2.Init.CRCLength = SPI_CRC_LENGTH_DATASIZE;
  hspi2.Init.NSSPMode = SPI_NSS_PULSE_ENABLE;
  if (HAL_SPI_Init(&hspi2) != HAL_OK)
  {
    Error_Handler();
  }

}

static void MX_SPI3_Init(void)
{

  /* SPI3 parameter configuration*/
  hspi3.Instance = SPI3;
  hspi3.Init.Mode = SPI_MODE_MASTER;
  hspi3.Init.Direction = SPI_DIRECTION_2LINES;
  hspi3.Init.DataSize = SPI_DATASIZE_8BIT;
  hspi3.Init.CLKPolarity = SPI_POLARITY_LOW;
  hspi3.Init.CLKPhase = SPI_PHASE_1EDGE;
  hspi3.Init.NSS = SPI_NSS_SOFT;
  hspi3.Init.BaudRatePrescaler = SPI_BAUDRATEPRESCALER_2;
  hspi3.Init.FirstBit = SPI_FIRSTBIT_MSB;
  hspi3.Init.TIMode = SPI_TIMODE_DISABLE;
  hspi3.Init.CRCCalculation = SPI_CRCCALCULATION_DISABLE;
  hspi3.Init.CRCPolynomial = 7;
  hspi3.Init.CRCLength = SPI_CRC_LENGTH_DATASIZE;
  hspi3.Init.NSSPMode = SPI_NSS_PULSE_ENABLE;
  if (HAL_SPI_Init(&hspi3) != HAL_OK)
  {
    Error_Handler();
  }

}

static void MX_TIM3_Init(void)
{

  TIM_ClockConfigTypeDef sClockSourceConfig = {0};
  TIM_MasterConfigTypeDef sMasterConfig = {0};
  TIM_OC_InitTypeDef sConfigOC = {0};

  htim3.Instance = TIM3;
  htim3.Init.Prescaler = 0;
  htim3.Init.CounterMode = TIM_COUNTERMODE_UP;
  htim3.Init.Period = 48000;
  htim3.Init.ClockDivision = TIM_CLOCKDIVISION_DIV1;
  htim3.Init.AutoReloadPreload = TIM_AUTORELOAD_PRELOAD_DISABLE;
  if (HAL_TIM_Base_Init(&htim3) != HAL_OK)
  {
    Error_Handler();
  }
  sClockSourceConfig.ClockSource = TIM_CLOCKSOURCE_INTERNAL;
  if (HAL_TIM_ConfigClockSource(&htim3, &sClockSourceConfig) != HAL_OK)
  {
    Error_Handler();
  }
  if (HAL_TIM_PWM_Init(&htim3) != HAL_OK)
  {
    Error_Handler();
  }
  sMasterConfig.MasterOutputTrigger = TIM_TRGO_RESET;
  sMasterConfig.MasterSlaveMode = TIM_MASTERSLAVEMODE_DISABLE;
  if (HAL_TIMEx_MasterConfigSynchronization(&htim3, &sMasterConfig) != HAL_OK)
  {
    Error_Handler();
  }
  sConfigOC.OCMode = TIM_OCMODE_PWM1;
  sConfigOC.Pulse = 0;
  sConfigOC.OCPolarity = TIM_OCPOLARITY_HIGH;
  sConfigOC.OCFastMode = TIM_OCFAST_DISABLE;
  if (HAL_TIM_PWM_ConfigChannel(&htim3, &sConfigOC, TIM_CHANNEL_1) != HAL_OK)
  {
    Error_Handler();
  }
  if (HAL_TIM_PWM_ConfigChannel(&htim3, &sConfigOC, TIM_CHANNEL_2) != HAL_OK)
  {
    Error_Handler();
  }
  if (HAL_TIM_PWM_ConfigChannel(&htim3, &sConfigOC, TIM_CHANNEL_3) != HAL_OK)
  {
    Error_Handler();
  }
  if (HAL_TIM_PWM_ConfigChannel(&htim3, &sConfigOC, TIM_CHANNEL_4) != HAL_OK)
  {
    Error_Handler();
  }

}

static void MX_TIM4_Init(void)
{

  TIM_ClockConfigTypeDef sClockSourceConfig = {0};
  TIM_MasterConfigTypeDef sMasterConfig = {0};
  TIM_OC_InitTypeDef sConfigOC = {0};

  htim4.Instance = TIM4;
  htim4.Init.Prescaler = 0;
  htim4.Init.CounterMode = TIM_COUNTERMODE_UP;
  htim4.Init.Period = 48000;
  htim4.Init.ClockDivision = TIM_CLOCKDIVISION_DIV1;
  htim4.Init.AutoReloadPreload = TIM_AUTORELOAD_PRELOAD_DISABLE;
  if (HAL_TIM_Base_Init(&htim4) != HAL_OK)
  {
    Error_Handler();
  }
  sClockSourceConfig.ClockSource = TIM_CLOCKSOURCE_INTERNAL;
  if (HAL_TIM_ConfigClockSource(&htim4, &sClockSourceConfig) != HAL_OK)
  {
    Error_Handler();
  }
  if (HAL_TIM_PWM_Init(&htim4) != HAL_OK)
  {
    Error_Handler();
  }
  sMasterConfig.MasterOutputTrigger = TIM_TRGO_RESET;
  sMasterConfig.MasterSlaveMode = TIM_MASTERSLAVEMODE_DISABLE;
  if (HAL_TIMEx_MasterConfigSynchronization(&htim4, &sMasterConfig) != HAL_OK)
  {
    Error_Handler();
  }
  sConfigOC.OCMode = TIM_OCMODE_PWM1;
  sConfigOC.Pulse = 0;
  sConfigOC.OCPolarity = TIM_OCPOLARITY_HIGH;
  sConfigOC.OCFastMode = TIM_OCFAST_DISABLE;
  if (HAL_TIM_PWM_ConfigChannel(&htim4, &sConfigOC, TIM_CHANNEL_1) != HAL_OK)
  {
    Error_Handler();
  }
  if (HAL_TIM_PWM_ConfigChannel(&htim4, &sConfigOC, TIM_CHANNEL_2) != HAL_OK)
  {
    Error_Handler();
  }
  if (HAL_TIM_PWM_ConfigChannel(&htim4, &sConfigOC, TIM_CHANNEL_3) != HAL_OK)
  {
    Error_Handler();
  }
  if (HAL_TIM_PWM_ConfigChannel(&htim4, &sConfigOC, TIM_CHANNEL_4) != HAL_OK)
  {
    Error_Handler();
  }

}

static void MX_TIM7_Init(void)
{

  TIM_MasterConfigTypeDef sMasterConfig = {0};

  htim7.Instance = TIM7;
  htim7.Init.Prescaler = 4799;
  htim7.Init.CounterMode = TIM_COUNTERMODE_UP;
  htim7.Init.Period = 999;
  htim7.Init.AutoReloadPreload = TIM_AUTORELOAD_PRELOAD_ENABLE;
  if (HAL_TIM_Base_Init(&htim7) != HAL_OK)
  {
    Error_Handler();
  }
  sMasterConfig.MasterOutputTrigger = TIM_TRGO_RESET;
  sMasterConfig.MasterSlaveMode = TIM_MASTERSLAVEMODE_DISABLE;
  if (HAL_TIMEx_MasterConfigSynchronization(&htim7, &sMasterConfig) != HAL_OK)
  {
    Error_Handler();
  }

}

static void MX_USART1_UART_Init(void)
{

  huart1.Instance = USART1;
  huart1.Init.BaudRate = 115200;
  huart1.Init.WordLength = UART_WORDLENGTH_8B;
  huart1.Init.StopBits = UART_STOPBITS_1;
  huart1.Init.Parity = UART_PARITY_NONE;
  huart1.Init.Mode = UART_MODE_TX_RX;
  huart1.Init.HwFlowCtl = UART_HWCONTROL_NONE;
  huart1.Init.OverSampling = UART_OVERSAMPLING_16;
  huart1.Init.OneBitSampling = UART_ONE_BIT_SAMPLE_DISABLE;
  huart1.AdvancedInit.AdvFeatureInit = UART_ADVFEATURE_NO_INIT;
  if (HAL_UART_Init(&huart1) != HAL_OK)
  {
    Error_Handler();
  }

}

static void MX_DMA_Init(void)
{

  /* DMA controller clock enable */
  __HAL_RCC_DMA1_CLK_ENABLE();

  /* DMA interrupt init */
  /* DMA1_Channel1_IRQn interrupt configuration */
  HAL_NVIC_SetPriority(DMA1_Channel1_IRQn, 5, 0);
  HAL_NVIC_EnableIRQ(DMA1_Channel1_IRQn);
  /* DMA1_Channel4_IRQn interrupt configuration */
  HAL_NVIC_SetPriority(DMA1_Channel4_IRQn, 5, 0);
  HAL_NVIC_EnableIRQ(DMA1_Channel4_IRQn);
  /* DMA1_Channel5_IRQn interrupt configuration */
  HAL_NVIC_SetPriority(DMA1_Channel5_IRQn, 5, 0);
  HAL_NVIC_EnableIRQ(DMA1_Channel5_IRQn);

}

static void MX_GPIO_Init(void)
{
  GPIO_InitTypeDef GPIO_InitStruct = {0};

  /* GPIO Ports Clock Enable */
  __HAL_RCC_GPIOE_CLK_ENABLE();
  __HAL_RCC_GPIOC_CLK_ENABLE();
  __HAL_RCC_GPIOF_CLK_ENABLE();
  __HAL_RCC_GPIOA_CLK_ENABLE();
  __HAL_RCC_GPIOB_CLK_ENABLE();
  __HAL_RCC_GPIOD_CLK_ENABLE();

  /*Configure GPIO pin Output Level */
  HAL_GPIO_WritePin(GPIOE, CS_I2C_SPI_Pin|LD4_Pin|LD3_Pin|LD5_Pin
                          |LD7_Pin|LD9_Pin|LD10_Pin|LD8_Pin
                          |LD6_Pin, GPIO_PIN_RESET);

  /*Configure GPIO pin Output Level */
  HAL_GPIO_WritePin(GPIOD, SPI2_CS_Pin|SPI3_CS_Pin, GPIO_PIN_RESET);

  /*Configure GPIO pin : PE2 */
  GPIO_InitStruct.Pin = GPIO_PIN_2;
  GPIO_InitStruct.Mode = GPIO_MODE_IT_RISING;
  GPIO_InitStruct.Pull = GPIO_NOPULL;
  HAL_GPIO_Init(GPIOE, &GPIO_InitStruct);

  /*Configure GPIO pins : CS_I2C_SPI_Pin LD4_Pin LD3_Pin LD5_Pin
                           LD7_Pin LD9_Pin LD10_Pin LD8_Pin
                           LD6_Pin */
  GPIO_InitStruct.Pin = CS_I2C_SPI_Pin|LD4_Pin|LD3_Pin|LD5_Pin
                          |LD7_Pin|LD9_Pin|LD10_Pin|LD8_Pin
                          |LD6_Pin;
  GPIO_InitStruct.Mode = GPIO_MODE_OUTPUT_PP;
  GPIO_InitStruct.Pull = GPIO_NOPULL;
  GPIO_InitStruct.Speed = GPIO_SPEED_FREQ_LOW;
  HAL_GPIO_Init(GPIOE, &GPIO_InitStruct);

  /*Configure GPIO pins : MEMS_INT3_Pin MEMS_INT4_Pin MEMS_INT2_Pin */
  GPIO_InitStruct.Pin = MEMS_INT3_Pin|MEMS_INT4_Pin|MEMS_INT2_Pin;
  GPIO_InitStruct.Mode = GPIO_MODE_EVT_RISING;
  GPIO_InitStruct.Pull = GPIO_NOPULL;
  HAL_GPIO_Init(GPIOE, &GPIO_InitStruct);

  /*Configure GPIO pin : PA0 */
  GPIO_InitStruct.Pin = GPIO_PIN_0;
  GPIO_InitStruct.Mode = GPIO_MODE_IT_RISING;
  GPIO_InitStruct.Pull = GPIO_NOPULL;
  HAL_GPIO_Init(GPIOA, &GPIO_InitStruct);

  /*Configure GPIO pins : SPI2_CS_Pin SPI3_CS_Pin */
  GPIO_InitStruct.Pin = SPI2_CS_Pin|SPI3_CS_Pin;
  GPIO_InitStruct.Mode = GPIO_MODE_OUTPUT_PP;
  GPIO_InitStruct.Pull = GPIO_NOPULL;
  GPIO_InitStruct.Speed = GPIO_SPEED_FREQ_LOW;
  HAL_GPIO_Init(GPIOD, &GPIO_InitStruct);

  /* EXTI interrupt init*/
  HAL_NVIC_SetPriority(EXTI0_IRQn, 7, 0);
  HAL_NVIC_EnableIRQ(EXTI0_IRQn);

}

/* USER CODE BEGIN 4 */

void HAL_GPIO_EXTI_Callback(uint16_t GPIO_Pin)
{
	if (GPIO_PIN_0 == GPIO_Pin)
		HAL_GPIO_TogglePin(LD3_GPIO_Port, LD3_Pin);
}

void HAL_UART_RxCpltCallback(UART_HandleTypeDef *h)
{
	if (h != &huart1)
		return;

	HAL_StatusTypeDef rv;
	static uint8_t pData;
	rv = HAL_UART_Receive_IT(&huart1, &pData, 1);
	if (HAL_OK == rv)
	{
		BaseType_t pxHigherPriorityTaskWoken = pdFALSE;
		xQueueSendFromISR(STShell_RXHandle, &pData, &pxHigherPriorityTaskWoken);
		portYIELD_FROM_ISR(pxHigherPriorityTaskWoken);
	}
}

void HAL_UART_ErrorCallback(UART_HandleTypeDef *h)
{
    if (h != &huart1) return;
    static uint8_t pData;
    HAL_UART_Receive_IT(&huart1, &pData, 1);
}

// Vul stack met pattern (bij opstarten)
extern uint32_t _estack;
extern uint32_t _Min_Stack_Size;
void stack_paint(void)
{
    uint32_t *p = (uint32_t *)((uint32_t)&_estack - (uint32_t) &_Min_Stack_Size);
    while (p < (uint32_t *)&_estack)
    {
        *p = 0x23232323;
        p++;
    }
}

// Voor I2C interaction with LSM303AGR
//void HAL_TIM_PeriodElapsedCallback(TIM_HandleTypeDef *htim)
//{
//    if (htim->Instance == TIM7)
//    {
//    	//HAL_GPIO_TogglePin(LD3_GPIO_Port, LD9_Pin);
//		LSM303AGR_10ms_int();
//    }
//}

void HAL_I2C_MemRxCpltCallback(I2C_HandleTypeDef *hi2c)
{
    if (hi2c->Instance == I2C1)
    {
    	LSM303AGR_I2C_Callback();
    }
}

void HAL_I2C_ErrorCallback(I2C_HandleTypeDef *hi2c)
{
    if (hi2c->Instance == I2C1)
    {
        //uint32_t err = HAL_I2C_GetError(hi2c);
        LSM303AGR_I2C_Err_Callback();
        // chain broken: reset state machine, count the error, wait for next timer tick
    }
}

void HAL_SPI_TxCpltCallback(SPI_HandleTypeDef *hspi)
{
    if (hspi->Instance == SPI1)
    	I3G4250D_SPI1_Callback();
}

void HAL_SPI_RxCpltCallback(SPI_HandleTypeDef *hspi)
{
    if (hspi->Instance == SPI1)
    	I3G4250D_SPI1_Callback();
    if (hspi->Instance == SPI2)
    	HAL_SPI_RxCpltCallback_SPI2();
}

void HAL_SPI_ErrorCallback(SPI_HandleTypeDef *hspi)
{
    if (hspi->Instance == SPI1)
    	I3G4250D_SPI1_Failed();
}

int __io_putchar(int ch)
{
    uint8_t c = (uint8_t)ch;
    if (ch == '\n')              /* nette CRLF voor de terminal */
    {
        uint8_t r = '\r';
        HAL_UART_Transmit(&huart1, &r, 1, 100);
    }
    HAL_UART_Transmit(&huart1, &c, 1, 100);
    return ch;
}

/* USER CODE END 4 */

void StartDefaultTask(void *argument)
{
  /* init code for USB_DEVICE */
  MX_USB_DEVICE_Init();
  for(;;)
  {
    osDelay(1);
  }
}

void StartSTShell(void *argument)
{
  /* USER CODE BEGIN StartSTShell */
  /* Infinite loop */
	shell_ctx[0].tx = shell_tx_uart1;
	shell_ctx[0].rx = shell_rx_uart1;
	HAL_UART_RxCpltCallback(&huart1);			// Arm the interrupt chain once.

	init_shell_telnet();

	char* motd = (char*) nvfind(NV_MOTD);
	if (motd)
	{
		shell_tx_str(&shell_ctx[0], motd);
		shell_tx_str(&shell_ctx[0], "\r\n");
	}

  for(;;)
  {
	  shell_task();
  }
  /* USER CODE END StartSTShell */
}

void startPWM(void *argument)
{
  /* USER CODE BEGIN startPWM */
  /* Infinite loop */
  pwm_task();
  /* USER CODE END startPWM */
}

void StartUDPListen(void *argument)
{
  /* USER CODE BEGIN StartUDPListen */
  /* Infinite loop */
	udpListen();
  /* USER CODE END StartUDPListen */
}

void HAL_TIM_PeriodElapsedCallback(TIM_HandleTypeDef *htim)
{
  if (htim->Instance == TIM6)
  {
    HAL_IncTick();
  }
  /* USER CODE BEGIN Callback 1 */
  if (htim->Instance == TIM7)
  {
  	LSM303AGR_10ms_int();		// This is an interrupt cascade.
  	I3G4250D_10ms_int();		// This too. Barfight!
  }

  /* USER CODE END Callback 1 */
}

void Error_Handler(void)
{
  __disable_irq();
  while (1)
  {
  }
}

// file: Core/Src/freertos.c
/* USER CODE BEGIN Header */
/**
  ******************************************************************************
  * File Name          : freertos.c
  * Description        : Code for freertos applications
  ******************************************************************************
  * @attention
  *
  * Copyright (c) 2026 STMicroelectronics.
  * All rights reserved.
  *
  * This software is licensed under terms that can be found in the LICENSE file
  * in the root directory of this software component.
  * If no LICENSE file comes with this software, it is provided AS-IS.
  *
  ******************************************************************************
  */
/* USER CODE END Header */

#include "FreeRTOS.h"
#include "task.h"
#include "main.h"

/* Hook prototypes */
void configureTimerForRunTimeStats(void);
unsigned long getRunTimeCounterValue(void);

/* USER CODE BEGIN 1 */
/* Functions needed when configGENERATE_RUN_TIME_STATS is on */
__weak void configureTimerForRunTimeStats(void)
{

}

__weak unsigned long getRunTimeCounterValue(void)
{
return 0;
}
/* USER CODE END 1 */
